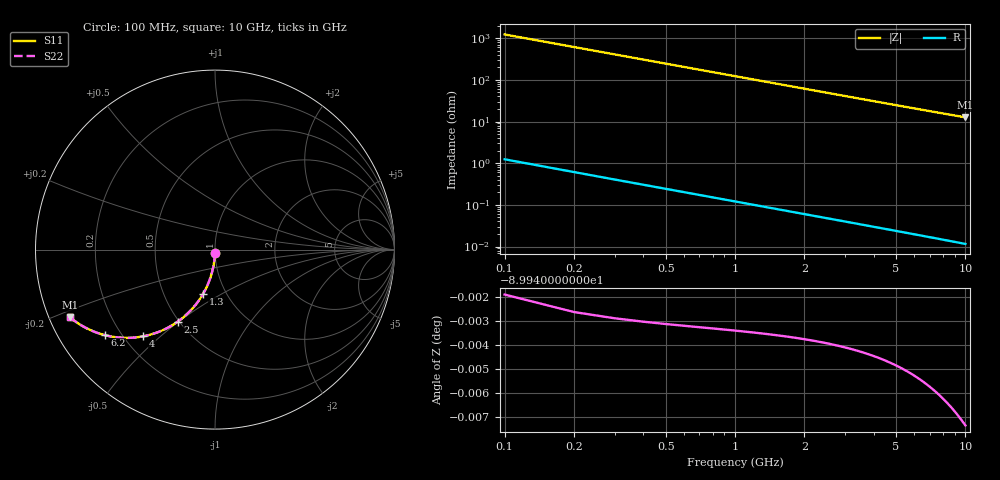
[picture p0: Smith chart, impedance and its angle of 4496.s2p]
# Hz S RI R 50.00
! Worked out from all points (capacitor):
!   100 points, 100 MHz to 10 GHz, reference 50 ohm
!   read as one part in shunt: C = 1.3 pF near 100 MHz
!   lowest |Z| = 12.6 ohm at 10 GHz (marker M1)
!   S11 on the Smith chart (normalised r, x): 100 MHz: 1.00, -0.04; 1.3 GHz: 0.78, -0.41; 2.5 GHz: 0.49, -0.50; 4 GHz: 0.28, -0.44; 6.2 GHz: 0.14, -0.34; 10 GHz: 0.06, -0.22
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1e8  -0.000405 -0.0203  0.9995 -0.0206  0.9995 -0.0206  -0.000405 -0.0203
2e8  -0.00167 -0.0405  0.9983 -0.0411  0.9983 -0.0411  -0.00167 -0.0405
3e8  -0.00376 -0.0606  0.9962 -0.0615  0.9962 -0.0615  -0.00376 -0.0606
4e8  -0.00667 -0.0805  0.9933 -0.0817  0.9933 -0.0817  -0.00667 -0.0805
5e8  -0.0104 -0.1002  0.9896 -0.1018  0.9896 -0.1018  -0.0104 -0.1002
6e8  -0.0149 -0.1197  0.9851 -0.1216  0.9851 -0.1216  -0.0149 -0.1197
8e8  -0.0261 -0.1578  0.9738 -0.1603  0.9738 -0.1603  -0.0261 -0.1578
1e9  -0.0401 -0.1943  0.9598 -0.1974  0.9598 -0.1974  -0.0401 -0.1943
1.3e9  -0.066 -0.2458  0.934 -0.2498  0.934 -0.2498  -0.066 -0.2458
1.5e9  -0.0859 -0.2774  0.914 -0.2821  0.914 -0.2821  -0.0859 -0.2774
1.8e9  -0.1191 -0.3207  0.8808 -0.3263  0.8808 -0.3263  -0.1191 -0.3207
2.1e9  -0.1554 -0.3585  0.8445 -0.3651  0.8445 -0.3651  -0.1554 -0.3585
2.5e9  -0.2067 -0.4006  0.7932 -0.4083  0.7932 -0.4083  -0.2067 -0.4006
2.9e9  -0.2595 -0.4334  0.7404 -0.4424  0.7404 -0.4424  -0.2595 -0.4334
3.4e9  -0.325 -0.4626  0.6749 -0.4732  0.6749 -0.4732  -0.325 -0.4626
4e9  -0.3998 -0.4831  0.6 -0.4956  0.6 -0.4956  -0.3998 -0.4831
5.1e9  -0.5199 -0.4911  0.4799 -0.5071  0.4799 -0.5071  -0.5199 -0.4911
6.2e9  -0.6155 -0.4761  0.3842 -0.4958  0.3842 -0.4958  -0.6155 -0.4761
6.7e9  -0.6516 -0.4653  0.3481 -0.4866  0.3481 -0.4866  -0.6516 -0.4653
7.5e9  -0.701 -0.4453  0.2986 -0.4692  0.2986 -0.4692  -0.701 -0.4453
8.4e9  -0.7465 -0.4209  0.2531 -0.4478  0.2531 -0.4478  -0.7465 -0.4209
1e10  -0.8072 -0.3776  0.1922 -0.4099  0.1922 -0.4099  -0.8072 -0.3776
